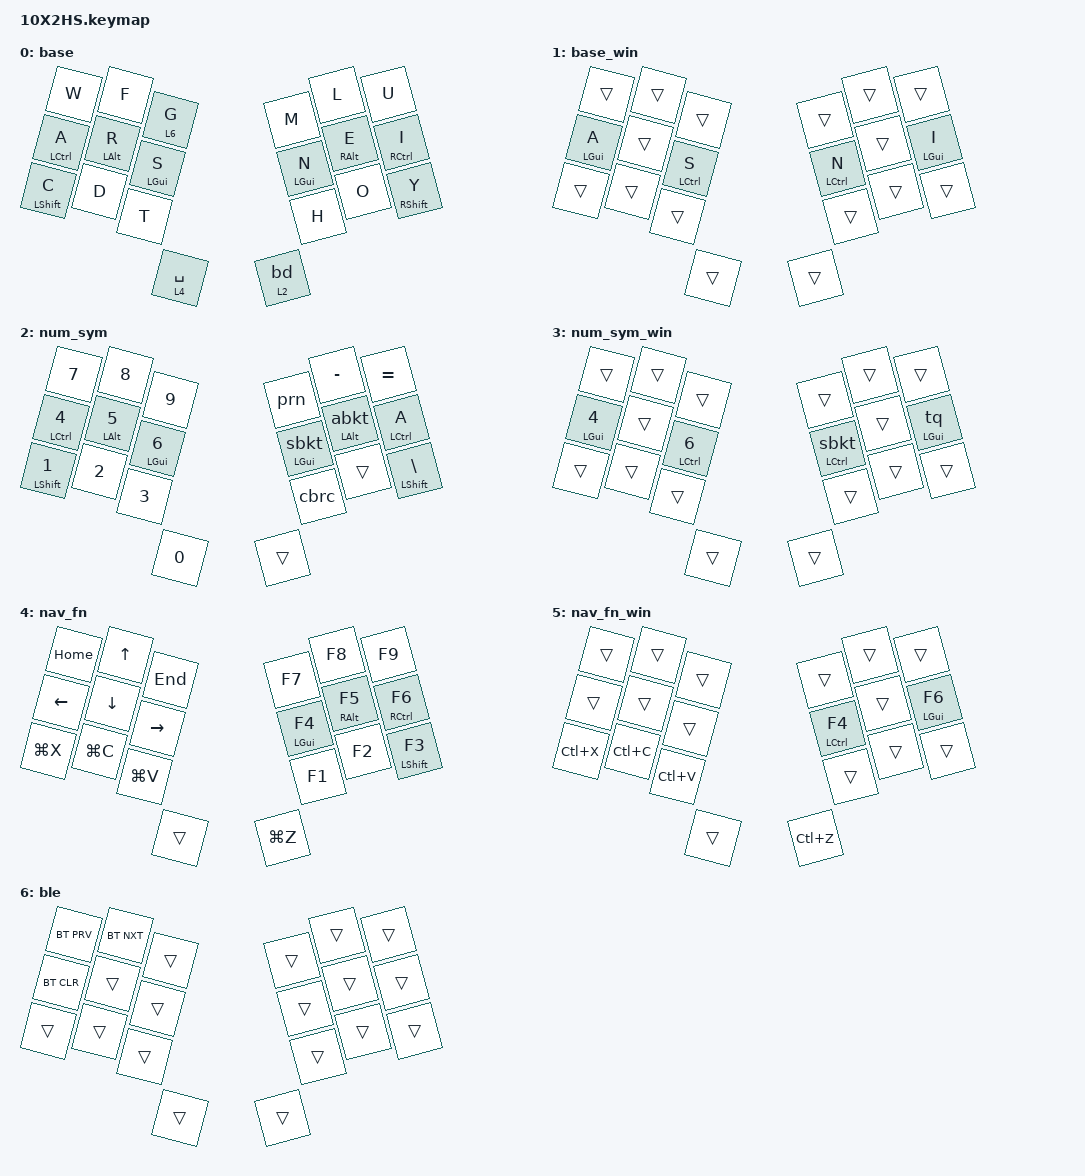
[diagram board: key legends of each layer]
#include <behaviors.dtsi>
#include <dt-bindings/zmk/bt.h>
#include <dt-bindings/zmk/keys.h>

#define ZMK_POINTING_DEFAULT_MOVE_VAL 1200  // default: 600

#define AS(keycode) &as LS(keycode) keycode

/ {
    behaviors {
        hml: homerow_mods_left {
            compatible = "zmk,behavior-hold-tap";
            label = "left homerow mods";
            bindings = <&kp>, <&kp>;

            #binding-cells = <2>;
            tapping-term-ms = <190>;
            quick-tap-ms = <190>;
            flavor = "balanced";
            require-prior-idle-ms = <100>;
            hold-trigger-key-positions = <5 9 15 16 17 19 25 26 27 28 33 34 29 11 10 32 3 4>;
        };

        hsl: homerow_shift_left {
            compatible = "zmk,behavior-hold-tap";
            label = "left homerow shift";
            bindings = <&kp>, <&kp>;

            #binding-cells = <2>;
            tapping-term-ms = <190>;
            quick-tap-ms = <190>;
            flavor = "balanced";
            require-prior-idle-ms = <0>;
            hold-trigger-key-positions = <25 26 27 28 34 33 29 32 19 15 3 4 5 9 10 11 15 16 17>;
        };

        cs: comma_semicolon {
            compatible = "zmk,behavior-mod-morph";
            label = "COMMA_SEMICOLON";
            bindings = <&kp COMMA>, <&kp SEMICOLON>;

            #binding-cells = <0>;
            mods = <(MOD_LSFT|MOD_RSFT)>;
        };

        pc: period_colon {
            compatible = "zmk,behavior-mod-morph";
            label = "PERIOD_COLON";
            bindings = <&kp PERIOD>, <&kp COLON>;

            #binding-cells = <0>;
            mods = <(MOD_LSFT|MOD_RSFT)>;
        };

        hmr: homerow_mods_right {
            compatible = "zmk,behavior-hold-tap";
            label = "right homerow mods";
            bindings = <&kp>, <&kp>;

            #binding-cells = <2>;
            tapping-term-ms = <190>;
            quick-tap-ms = <190>;
            flavor = "balanced";
            require-prior-idle-ms = <100>;
            hold-trigger-key-positions = <0 1 2 12 13 14 20 21 22 23 24 32 31 18 2 6 7 8 12 13 14 18>;
        };

        hsr: homerow_shift_right {
            compatible = "zmk,behavior-hold-tap";
            label = "right homerow shift";
            bindings = <&kp>, <&kp>;

            #binding-cells = <2>;
            tapping-term-ms = <190>;
            quick-tap-ms = <190>;
            flavor = "balanced";
            require-prior-idle-ms = <0>;
            hold-trigger-key-positions = <0 1 2 12 13 14 20 21 22 23 24 31 32 18 6 7 8>;
        };

        bd: backspace_delete {
            compatible = "zmk,behavior-mod-morph";
            label = "backspace/delete";
            bindings = <&kp BACKSPACE>, <&kp DELETE>;

            #binding-cells = <0>;
            mods = <(MOD_LSFT)>;
        };

        prn: parenthesis {
            compatible = "zmk,behavior-mod-morph";
            label = "parenthesis";
            bindings = <&kp LEFT_PARENTHESIS>, <&kp RIGHT_PARENTHESIS>;

            #binding-cells = <0>;
            mods = <(MOD_LSFT|MOD_RSFT)>;
        };

        sbkt: square_brackets {
            compatible = "zmk,behavior-mod-morph";
            label = "square brackets";
            bindings = <&kp LEFT_BRACKET>, <&kp RIGHT_BRACKET>;

            #binding-cells = <0>;
            mods = <(MOD_LSFT|MOD_RSFT)>;
        };

        cbrc: curly_braces {
            compatible = "zmk,behavior-mod-morph";
            label = "curly braces";
            bindings = <&kp LEFT_BRACE>, <&kp RIGHT_BRACE>;

            #binding-cells = <0>;
            mods = <(MOD_LSFT|MOD_RSFT)>;
        };

        abkt: angle_brackets {
            compatible = "zmk,behavior-mod-morph";
            label = "angle brackets";
            bindings = <&kp LESS_THAN>, <&kp GREATER_THAN>;

            #binding-cells = <0>;
            mods = <(MOD_LSFT|MOD_RSFT)>;
        };

        bdw: backspace_delete_word {
            compatible = "zmk,behavior-mod-morph";
            label = "backspace/delete word";
            bindings = <&kp LA(BACKSPACE)>, <&kp LA(DELETE)>;

            #binding-cells = <0>;
            mods = <(MOD_LSFT|MOD_RSFT)>;
        };

        bdlt: backspace_delete_layer_tap {
            compatible = "zmk,behavior-hold-tap";
            label = "backspace delete layer tap";
            bindings = <&mo>, <&bd>;

            #binding-cells = <2>;
            flavor = "balanced";
            tapping-term-ms = <200>;
        };

        tq: tick_quote {
            compatible = "zmk,behavior-mod-morph";
            label = "tick quote";
            bindings = <&kp SQT>, <&kp GRAVE>;

            #binding-cells = <0>;
            mods = <(MOD_LALT|MOD_RALT)>;
        };

        sbkt_hrm: homerow_mod_sbkt {
            compatible = "zmk,behavior-hold-tap";
            label = "square bracket home row mod";
            bindings = <&kp>, <&sbkt>;

            #binding-cells = <2>;
            tapping-term-ms = <200>;
        };

        abkt_hrm: homerow_mod_abkt {
            compatible = "zmk,behavior-hold-tap";
            label = "angle bracket homerow mod";
            bindings = <&kp>, <&abkt>;

            #binding-cells = <2>;
            tapping-term-ms = <190>;
            quick-tap-ms = <190>;
            flavor = "balanced";
            require-prior-idle-ms = <100>;
            hold-trigger-key-positions = <0 1 2 12 13 14 20 21 22 23 24 32 31 18 2 6 7 8 12 13 14 18>;
        };

        tq_hrm: homerow_mod_tq {
            compatible = "zmk,behavior-hold-tap";
            label = "tick quote homerow mod";
            bindings = <&kp>, <&tq>;

            #binding-cells = <2>;
            tapping-term-ms = <190>;
            quick-tap-ms = <190>;
            flavor = "balanced";
            require-prior-idle-ms = <100>;
            hold-trigger-key-positions = <0 1 2 12 13 14 20 21 22 23 24 32 31 18 2 6 7 8 12 13 14 18>;
        };
    };

    macros {
        jsdoc: jsdoc {
            compatible = "zmk,behavior-macro";
            #binding-cells = <0>;
            bindings = <&kp FSLH &kp STAR &kp STAR &kp SPACE>;
            label = "JSDOC";
        };
    };

    combos {
        compatible = "zmk,combos";

        q {
            bindings = <&kp Q>;
            key-positions = <0 1>;
            layers = <0 1>;
        };

        b {
            bindings = <&kp B>;
            key-positions = <1 2>;
            layers = <0 1>;
        };

        v {
            bindings = <&kp V>;
            key-positions = <6 7>;
            layers = <1 0>;
        };

        p {
            bindings = <&kp P>;
            key-positions = <7 8>;
            layers = <0 1>;
        };

        z {
            bindings = <&kp Z>;
            key-positions = <12 13>;
            layers = <0 1>;
        };

        x {
            bindings = <&kp X>;
            key-positions = <13 14>;
            layers = <0 1>;
        };

        j {
            bindings = <&kp J>;
            key-positions = <3 4>;
            layers = <0 1>;
        };

        k {
            bindings = <&kp K>;
            key-positions = <9 10>;
            layers = <0 1>;
        };

        period {
            bindings = <&pc>;
            key-positions = <4 5>;
            layers = <0 1>;
        };

        comma {
            bindings = <&cs>;
            key-positions = <10 11>;
        };

        slash {
            bindings = <&kp SLASH>;
            key-positions = <16 17>;
            layers = <0 1>;
        };

        left_enter {
            bindings = <&kp ENTER>;
            key-positions = <8 7 0>;
        };

        right_enter {
            bindings = <&kp ENTER>;
            key-positions = <9 10 5>;
        };

        esc {
            bindings = <&kp ESCAPE>;
            key-positions = <0 6>;
        };

        shift_tab {
            bindings = <&kp LS(TAB)>;
            key-positions = <1 7>;
        };

        tab {
            bindings = <&kp TAB>;
            key-positions = <2 8>;
        };

        caps_word {
            bindings = <&caps_word>;
            key-positions = <8 9>;
        };

        caps_lock {
            bindings = <&kp CAPSLOCK>;
            key-positions = <7 8 9 10>;
        };

        sticky_shift {
            bindings = <&sk LSHIFT>;
            key-positions = <14 18>;
        };

        sticky_gui {
            bindings = <&sk LGUI>;
            key-positions = <18 8>;
        };

        sticky_alt {
            bindings = <&sk LALT>;
            key-positions = <18 7>;
        };

        sticky_ctrl {
            bindings = <&sk LCTRL>;
            key-positions = <18 6>;
        };

        jsdoc {
            bindings = <&jsdoc>;
            key-positions = <18 16 17>;
        };

        bd_word {
            bindings = <&bdw>;
            key-positions = <3 9>;
        };

        toggle_nav {
            bindings = <&tog 4>;
            key-positions = <6 1 8>;
        };

        toggle_num {
            bindings = <&tog 2>;
            key-positions = <6 13 8>;
        };

        screenshot {
            bindings = <&kp LG(LS(N5))>;
            key-positions = <0 7>;
        };

        soft_off {
            bindings = <&soft_off>;
            key-positions = <0 18 19 5>;
        };

        reset {
            bindings = <&sys_reset>;
            key-positions = <18 19 0 1 4 5>;
        };

        boot {
            bindings = <&bootloader>;
            key-positions = <18 19 0 1 2 3 4 5>;
        };

        bt_clear_all {
            bindings = <&bt BT_CLR_ALL>;
            key-positions = <12 13 14 15 16 17>;
        };

        globe {
            bindings = <&kp GLOBE>;
            key-positions = <12 13 14>;
        };

        toggle_win {
            bindings = <&tog 1>;
            key-positions = <0 5>;
        };

        screenshot_win {
            bindings = <&kp LS(LG(S))>;
            key-positions = <0 7>;
        };

        force_quit {
            bindings = <&kp LG(LS(ESCAPE))>;
            key-positions = <0 1 2>;
        };

        ctrl_alt_del {
            bindings = <&kp LC(LA(DELETE))>;
            key-positions = <0 1 2>;
            layers = <1>;
        };

        studio_unlock {
            bindings = <&studio_unlock>;
            key-positions = <12 13 16 17>;
        };

        decimal {
            bindings = <&kp PERIOD>;
            key-positions = <13 14>;
            layers = <2>;
        };

        plus {
            bindings = <&kp PLUS>;
            key-positions = <2 8>;
            layers = <2>;
        };

        minus {
            bindings = <&kp MINUS>;
            key-positions = <8 14>;
            layers = <2>;
        };

        multiply {
            bindings = <&kp KP_MULTIPLY>;
            key-positions = <0 6>;
            layers = <2>;
        };

        divide {
            bindings = <&kp KP_DIVIDE>;
            key-positions = <6 12>;
        };
    };

    keymap {
        compatible = "zmk,keymap";

        base {
            bindings = <
&kp W          &kp F        &lt 6 G        &kp M        &kp L        &kp U
&hml LCTRL A   &hml LALT R  &hml LGUI S    &hmr LGUI N  &hmr RALT E  &hmr RCTRL I
&hsl LSHIFT C  &kp D        &kp T          &kp H        &kp O        &hsr RSHIFT Y
                            &lt 4 SPACE    &bdlt 2 0
            >;
        };

        base_win {
            bindings = <
&trans       &trans  &trans          &trans        &trans  &trans
&hml LGUI A  &trans  &hml LCTRL S    &hmr LCTRL N  &trans  &hmr LGUI I
&trans       &trans  &trans          &trans        &trans  &trans
                     &trans          &trans
            >;
        };

        num_sym {
            bindings = <
&kp N7          &kp N8        &kp N9          &prn              &kp MINUS         &kp EQUAL
&hml LCTRL N4   &hml LALT N5  &hml LGUI N6    &sbkt_hrm LGUI 0  &abkt_hrm LALT 0  &tq_hrm LCTRL A
&hsl LSHIFT N1  &kp N2        &kp N3          &cbrc             &trans            &hsr LSHIFT BACKSLASH
                              &kp N0          &trans
            >;
        };

        num_sym_win {
            bindings = <
&trans              &trans  &trans           &trans             &trans  &trans
&hml LGUI NUMBER_4  &trans  &hmr LCTRL N6    &sbkt_hrm LCTRL 0  &trans  &tq_hrm LGUI 0
&trans              &trans  &trans           &trans             &trans  &trans
                            &trans           &trans
            >;
        };

        nav_fn {
            bindings = <
&kp HOME   &kp UP     &kp END      &kp F7        &kp F8        &kp F9
&kp LEFT   &kp DOWN   &kp RIGHT    &hmr LGUI F4  &hmr RALT F5  &hmr RCTRL F6
&kp LG(X)  &kp LG(C)  &kp LG(V)    &kp F1        &kp F2        &hsr LSHIFT F3
                      &trans       &kp LG(Z)
            >;
        };

        nav_fn_win {
            bindings = <
&trans     &trans     &trans       &trans         &trans  &trans
&trans     &trans     &trans       &hmr LCTRL F4  &trans  &hmr LGUI F6
&kp LC(X)  &kp LC(C)  &kp LC(V)    &trans         &trans  &trans
                      &trans       &kp LC(Z)
            >;
        };

        ble {
            bindings = <
&bt BT_PRV  &bt BT_NXT  &trans    &trans  &trans  &trans
&bt BT_CLR  &trans      &trans    &trans  &trans  &trans
&trans      &trans      &trans    &trans  &trans  &trans
                        &trans    &trans
            >;
        };
    };

    conditional_layers {
        compatible = "zmk,conditional-layers";

        num_sym_win {
            if-layers = <1 2>;
            then-layer = <3>;
        };

        nav_fn_win {
            if-layers = <1 4>;
            then-layer = <5>;
        };
    };
};
